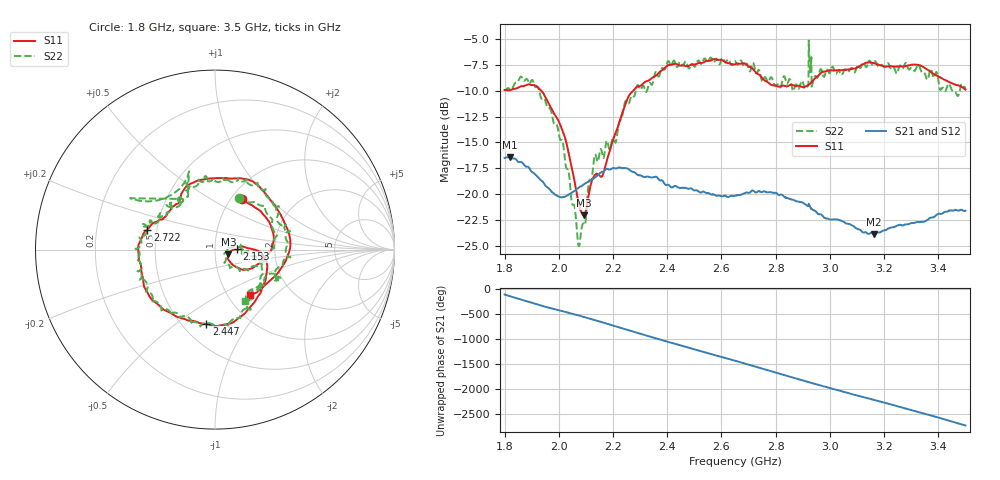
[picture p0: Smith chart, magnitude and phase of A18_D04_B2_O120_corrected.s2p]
! Created with skrf 1.9.0 (http://scikit-rf.org).
# Hz S RI R 50.0
!freq ReS11 ImS11 ReS21 ImS21 ReS12 ImS12 ReS22 ImS22
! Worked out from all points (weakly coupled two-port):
!   1601 points, 1.8 GHz to 3.5 GHz, reference 50 ohm
!   highest |S21| = -16.41 dB at 1.818 GHz (marker M1); lowest = -23.9 dB at 3.163 GHz (marker M2)
!   lowest |S11| = -22.0 dB at 2.091 GHz (marker M3), VSWR 1.17, Z = 58 - j3.08 ohm
!   |S11| at or under -10 dB: 1.935 GHz to 2.275 GHz (339.8 MHz wide, 16.1 % of centre)
!   |S22| runs from -25.0 to -5.2 dB; largest |S21 - S12| = 0.0025
!   S11 on the Smith chart (normalised r, x): 1.8 GHz: 1.13, +0.70; 2.153 GHz: 1.28, +0.01; 2.447 GHz: 0.65, -0.65; 2.722 GHz: 0.44, +0.12; 3.5 GHz: 1.26, -0.71
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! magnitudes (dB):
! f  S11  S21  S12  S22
! 1.8 GHz  -9.9  -16.5  -16.5  -10.0
! 1.818 GHz  -10.0  -16.4  -16.4  -9.8
! 1.902 GHz  -9.5  -17.9  -17.8  -9.0
! 1.967 GHz  -11.4  -19.5  -19.6  -11.7
! 2.015 GHz  -13.9  -20.3  -20.3  -15.0
! 2.072 GHz  -20.7  -19.4  -19.4  -24.9
! 2.084 GHz  -21.8  -19.2  -19.2  -23.3
! 2.091 GHz  -22.0  -19.1  -19.1  -22.8
! 2.13 GHz  -18.2  -18.4  -18.4  -16.5
! 2.153 GHz  -18.3  -17.9  -18.0  -15.7
! 2.209 GHz  -14.1  -17.5  -17.5  -15.0
! 2.259 GHz  -10.5  -17.6  -17.6  -11.2
! 2.367 GHz  -8.3  -18.6  -18.5  -8.6
! 2.447 GHz  -7.6  -19.4  -19.4  -7.2
! 2.65 GHz  -7.4  -20.2  -20.1  -7.1
! 2.722 GHz  -8.1  -19.8  -19.7  -7.8
! 2.867 GHz  -9.5  -20.6  -20.6  -10.0
! 2.934 GHz  -9.2  -21.4  -21.4  -9.5
! 3.163 GHz  -7.3  -23.9  -23.8  -7.2
! 3.217 GHz  -7.7  -23.3  -23.3  -7.4
! 3.331 GHz  -7.5  -22.7  -22.7  -7.7
! 3.5 GHz  -9.9  -21.6  -21.6  -9.6
